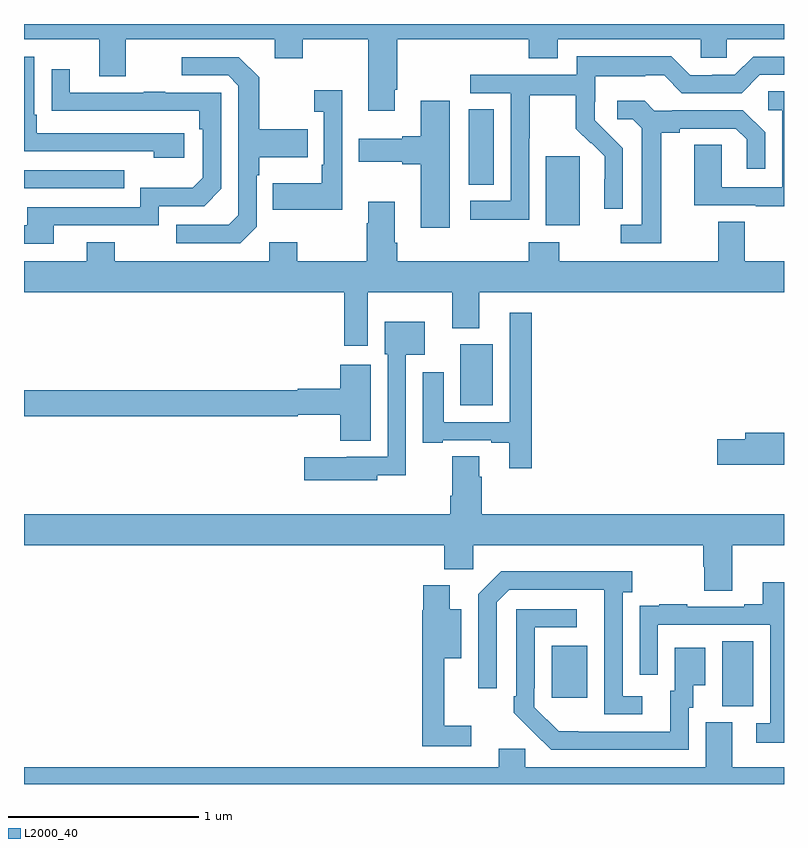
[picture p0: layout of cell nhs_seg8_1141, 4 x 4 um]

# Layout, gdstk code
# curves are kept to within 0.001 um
import gdstk
lib = gdstk.Library(unit=1e-6, precision=1e-09)
def R(c, l, rs):  # rectangles x0, y0, x1, y1
    for r in rs: c.add(gdstk.rectangle(r[:2], r[2:], *l))
def P(c, l, *ps):  # polygons
    for p in ps: c.add(gdstk.Polygon(p, *l))
L2000_40 = (2000, 40)

nhs_seg8_1141 = lib.new_cell('nhs_seg8_1141')
R(nhs_seg8_1141, L2000_40, [(186.674,1126.309,186.838,1126.652), (185.777,1126.353,185.965,1126.627), (185.297,1127.894,185.467,1128.214), (185.747,1128.842,185.926,1129.203), (183,1129.035,183.527,1129.131), (185.342,1129.054,185.473,1129.451)])
P(nhs_seg8_1141, L2000_40, [(184.951,1129.555),(184.964,1129.555),(184.964,1129.82),(185.657,1129.82),(185.657,1129.721),(185.809,1129.721),(185.809,1129.82),(186.561,1129.82),(186.561,1129.722),(186.699,1129.722),(186.699,1129.82),(187,1129.82),(187,1129.9),(183,1129.9),(183,1129.82),(183.395,1129.82),(183.395,1129.626),(183.535,1129.626),(183.535,1129.82),(184.319,1129.82),(184.319,1129.721),(184.467,1129.721),(184.467,1129.82),(184.811,1129.82),(184.811,1129.443),(184.951,1129.443)],
  [(185.658,1129.3),(185.661,1129.3),(185.661,1129.524),(185.905,1129.524),(185.905,1129.349),(185.982,1129.272),(185.985,1129.275),(186.056,1129.205),(186.056,1129.082),(186.054,1129.082),(186.054,1128.928),(186.15,1128.928),(186.15,1129.246),(186.004,1129.394),(186.004,1129.491),(186.006,1129.491),(186.006,1129.625),(186.269,1129.625),(186.269,1129.629),(186.369,1129.629),(186.462,1129.536),(186.777,1129.536),(186.873,1129.632),(187,1129.632),(187,1129.728),(186.837,1129.728),(186.741,1129.632),(186.623,1129.632),(186.623,1129.629),(186.507,1129.629),(186.407,1129.729),(185.91,1129.729),(185.91,1129.632),(185.349,1129.632),(185.349,1129.536),(185.562,1129.536),(185.562,1128.969),(185.349,1128.969),(185.349,1128.871),(185.658,1128.871)],
  [(183.844,1129.326),(183.067,1129.326),(183.067,1129.423),(183.054,1129.423),(183.054,1129.728),(183,1129.728),(183,1129.23),(183.683,1129.23),(183.683,1129.196),(183.844,1129.196)],
  [(184.224,1128.834),(184.224,1129.103),(184.237,1129.103),(184.237,1129.199),(184.493,1129.199),(184.493,1129.347),(184.237,1129.347),(184.237,1129.619),(184.131,1129.725),(183.831,1129.725),(183.831,1129.629),(184.074,1129.629),(184.128,1129.575),(184.128,1128.894),(184.077,1128.843),(183.801,1128.843),(183.801,1128.747),(184.137,1128.747)],
  [(183.157,1128.84),(183.708,1128.84),(183.708,1128.942),(183.948,1128.942),(184.038,1129.032),(184.038,1129.539),(183.743,1129.539),(183.743,1129.544),(183.631,1129.544),(183.631,1129.539),(183.241,1129.539),(183.241,1129.663),(183.145,1129.663),(183.145,1129.444),(183.922,1129.443),(183.922,1129.346),(183.942,1129.346),(183.942,1129.092),(183.889,1129.039),(183.612,1129.039),(183.612,1128.936),(183.017,1128.936),(183.017,1128.84),(183,1128.84),(183,1128.744),(183.157,1128.744)],
  [(184.674,1129.552),(184.527,1129.552),(184.527,1129.439),(184.578,1129.439),(184.578,1129.159),(184.566,1129.159),(184.566,1129.063),(184.309,1129.063),(184.309,1128.923),(184.674,1128.923)],
  [(187,1129.547),(186.918,1129.547),(186.918,1129.446),(186.99,1129.446),(186.99,1129.041),(186.672,1129.041),(186.672,1129.265),(186.527,1129.265),(186.527,1128.945),(186.851,1128.945),(186.851,1128.941),(187,1128.941)],
  [(186.355,1129.328),(186.451,1129.328),(186.451,1129.35),(186.746,1129.35),(186.803,1129.293),(186.803,1129.137),(186.9,1129.137),(186.9,1129.33),(186.784,1129.446),(186.412,1129.446),(186.412,1129.443),(186.318,1129.443),(186.266,1129.495),(186.123,1129.495),(186.123,1129.398),(186.204,1129.398),(186.251,1129.351),(186.251,1128.843),(186.141,1128.843),(186.141,1128.747),(186.355,1128.747)],
  [(185.242,1129.495),(185.087,1129.495),(185.087,1129.31),(184.991,1129.31),(184.991,1129.297),(184.761,1129.297),(184.761,1129.175),(184.991,1129.175),(184.991,1129.163),(185.087,1129.163),(185.087,1128.828),(185.242,1128.828)],
  [(184.81,1128.488),(185.255,1128.488),(185.255,1128.299),(185.395,1128.299),(185.395,1128.488),(187,1128.488),(187,1128.652),(186.793,1128.652),(186.793,1128.86),(186.653,1128.86),(186.653,1128.652),(185.817,1128.652),(185.817,1128.751),(185.657,1128.751),(185.657,1128.652),(184.964,1128.652),(184.964,1128.748),(184.951,1128.748),(184.951,1128.964),(184.811,1128.964),(184.811,1128.851),(184.804,1128.851),(184.804,1128.652),(184.437,1128.652),(184.437,1128.751),(184.29,1128.751),(184.29,1128.652),(183.477,1128.652),(183.477,1128.751),(183.329,1128.751),(183.329,1128.652),(183,1128.652),(183,1128.488),(184.685,1128.488),(184.685,1128.207),(184.81,1128.207)],
  [(185.672,1128.379),(185.556,1128.379),(185.556,1127.805),(185.209,1127.805),(185.209,1128.067),(185.099,1128.067),(185.099,1127.697),(185.203,1127.697),(185.203,1127.709),(185.459,1127.709),(185.459,1127.697),(185.555,1127.697),(185.555,1127.562),(185.672,1127.562)],
  [(184.86,1127.525),(185.01,1127.525),(185.01,1128.158),(185.11,1128.158),(185.11,1128.334),(184.898,1128.334),(184.898,1128.162),(184.914,1128.162),(184.914,1127.622),(184.698,1127.622),(184.698,1127.62),(184.476,1127.62),(184.476,1127.498),(184.86,1127.498)],
  [(184.825,1128.106),(184.664,1128.106),(184.664,1127.98),(184.44,1127.98),(184.44,1127.972),(183,1127.972),(183,1127.836),(184.44,1127.836),(184.44,1127.843),(184.664,1127.843),(184.664,1127.707),(184.825,1127.707)],
  [(187,1127.75),(186.797,1127.75),(186.797,1127.714),(186.648,1127.714),(186.648,1127.579),(187,1127.579)],
  [(186.727,1127.156),(187,1127.156),(187,1127.32),(185.408,1127.32),(185.408,1127.516),(185.395,1127.516),(185.395,1127.624),(185.255,1127.624),(185.255,1127.416),(185.243,1127.416),(185.243,1127.32),(183,1127.32),(183,1127.156),(185.213,1127.156),(185.213,1127.03),(185.364,1127.03),(185.364,1127.156),(186.575,1127.156),(186.575,1127.043),(186.58,1127.043),(186.58,1126.918),(186.727,1126.918)],
  [(186.253,1126.362),(186.15,1126.362),(186.15,1126.91),(186.202,1126.91),(186.202,1127.02),(185.512,1127.02),(185.391,1126.899),(185.391,1126.404),(185.487,1126.404),(185.487,1126.857),(185.553,1126.923),(186.053,1126.923),(186.054,1126.266),(186.253,1126.266)],
  [(187,1126.963),(186.887,1126.963),(186.887,1126.846),(186.791,1126.846),(186.791,1126.833),(186.491,1126.833),(186.491,1126.846),(186.343,1126.846),(186.343,1126.839),(186.241,1126.839),(186.241,1126.73),(186.24,1126.73),(186.24,1126.476),(186.336,1126.476),(186.336,1126.737),(186.927,1126.737),(186.927,1126.221),(186.855,1126.221),(186.855,1126.116),(187,1126.116)],
  [(185.353,1126.207),(185.213,1126.207),(185.213,1126.562),(185.302,1126.562),(185.302,1126.819),(185.242,1126.819),(185.242,1126.945),(185.102,1126.945),(185.102,1126.815),(185.095,1126.815),(185.095,1126.098),(185.353,1126.098)],
  [(186.498,1126.302),(186.523,1126.302),(186.523,1126.421),(186.586,1126.421),(186.586,1126.618),(186.425,1126.618),(186.425,1126.392),(186.401,1126.392),(186.401,1126.176),(185.814,1126.177),(185.685,1126.305),(185.685,1126.405),(185.688,1126.405),(185.688,1126.725),(185.908,1126.725),(185.908,1126.821),(185.592,1126.821),(185.592,1126.363),(185.577,1126.363),(185.577,1126.275),(185.774,1126.08),(186.498,1126.08)],
  [(187,1125.988),(186.727,1125.988),(186.727,1126.224),(186.587,1126.224),(186.587,1125.988),(185.637,1125.988),(185.637,1126.086),(185.498,1126.086),(185.498,1125.988),(183,1125.988),(183,1125.9),(187,1125.9)])

lib.write_gds('nhs_seg8_1141.gds')
